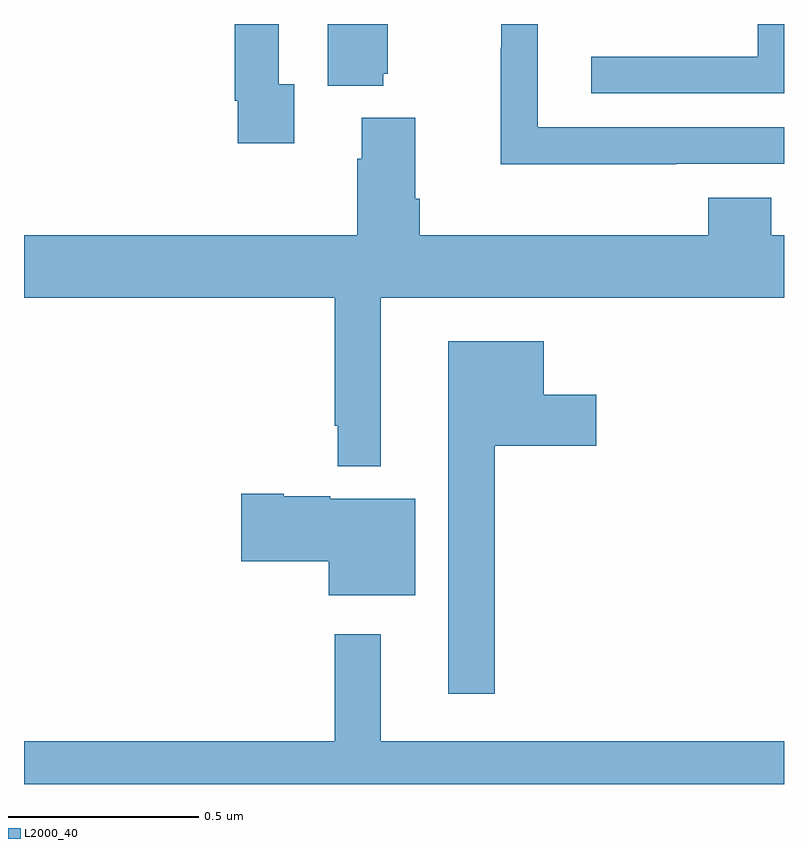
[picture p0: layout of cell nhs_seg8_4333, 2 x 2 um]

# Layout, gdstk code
import gdstk
lib = gdstk.Library(unit=1e-6, precision=1e-09)
def P(c, l, *ps):  # polygons
    for p in ps: c.add(gdstk.Polygon(p, *l))
L2000_40 = (2000, 40)

nhs_seg8_4333 = lib.new_cell('nhs_seg8_4333')
P(nhs_seg8_4333, L2000_40, [(169.711,1103.742),(169.671,1103.742),(169.671,1103.9),(169.555,1103.9),(169.555,1103.698),(169.563,1103.698),(169.563,1103.586),(169.711,1103.586)],
  [(171,1103.9),(170.931,1103.9),(170.931,1103.814),(170.493,1103.814),(170.493,1103.718),(171,1103.718)],
  [(169.946,1103.769),(169.957,1103.769),(169.957,1103.9),(169.799,1103.9),(169.799,1103.738),(169.946,1103.738)],
  [(170.717,1103.532),(171,1103.532),(171,1103.628),(170.352,1103.628),(170.352,1103.9),(170.256,1103.9),(170.256,1103.837),(170.254,1103.837),(170.254,1103.531),(170.717,1103.531)],
  [(169.939,1103.18),(171,1103.18),(171,1103.344),(170.966,1103.344),(170.966,1103.443),(170.801,1103.443),(170.801,1103.344),(170.042,1103.344),(170.042,1103.44),(170.029,1103.44),(170.029,1103.653),(169.889,1103.653),(169.889,1103.546),(169.877,1103.546),(169.877,1103.344),(169,1103.344),(169,1103.18),(169.818,1103.18),(169.818,1102.843),(169.825,1102.843),(169.825,1102.736),(169.939,1102.736)],
  [(170.239,1102.79),(170.506,1102.79),(170.506,1102.924),(170.368,1102.924),(170.368,1103.065),(170.117,1103.065),(170.117,1102.137),(170.239,1102.137)],
  [(170.029,1102.651),(169.806,1102.651),(169.806,1102.657),(169.684,1102.657),(169.684,1102.664),(169.572,1102.664),(169.572,1102.486),(169.802,1102.486),(169.802,1102.397),(170.029,1102.397)],
  [(171,1102.012),(169.939,1102.012),(169.939,1102.294),(169.818,1102.294),(169.818,1102.012),(169,1102.012),(169,1101.9),(171,1101.9)])

lib.write_gds('nhs_seg8_4333.gds')
